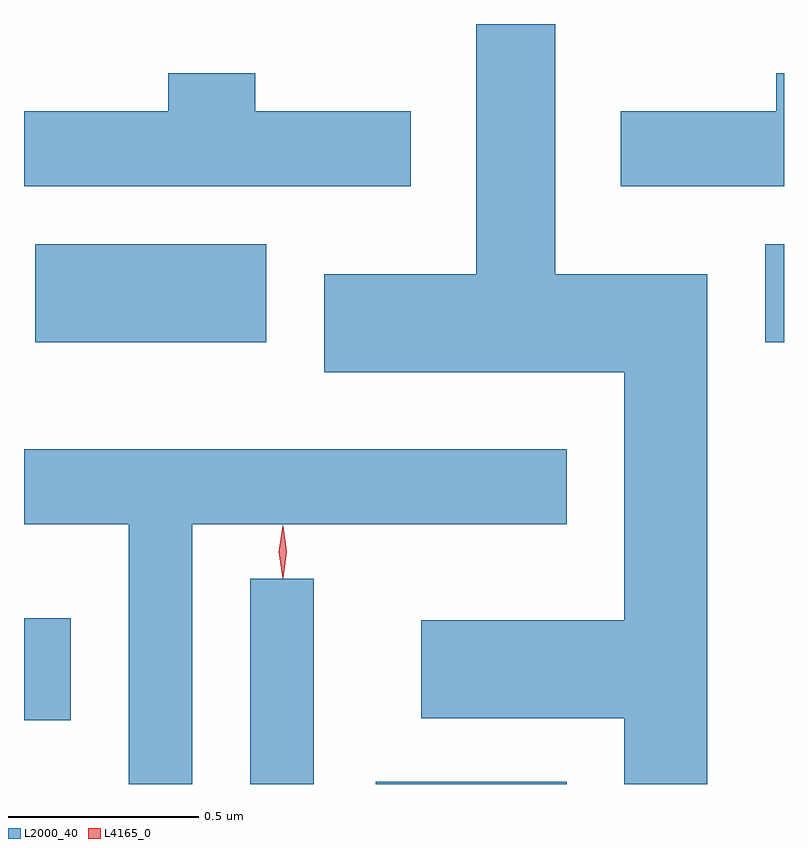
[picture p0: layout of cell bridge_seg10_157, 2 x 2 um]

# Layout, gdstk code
import gdstk
lib = gdstk.Library(unit=1e-6, precision=1e-09)
def R(c, l, rs):  # rectangles x0, y0, x1, y1
    for r in rs: c.add(gdstk.rectangle(r[:2], r[2:], *l))
def P(c, l, *ps):  # polygons
    for p in ps: c.add(gdstk.Polygon(p, *l))
L2000_40 = (2000, 40)
L4165_0 = (4165, 0)

bridge_seg10_157 = lib.new_cell('bridge_seg10_157')
R(bridge_seg10_157, L2000_40, [(1657.921,2141.633,1658.089,2142.173), (1658.251,2141.633,1658.754,2141.639), (1657.326,2141.801,1657.449,2142.069), (1657.356,2142.796,1657.964,2143.054), (1659.276,2142.796,1659.326,2143.054)])
P(bridge_seg10_157, L2000_40, [(1659.124,2142.974),(1658.724,2142.974),(1658.724,2143.633),(1658.516,2143.633),(1658.516,2142.974),(1658.116,2142.974),(1658.116,2142.716),(1658.906,2142.716),(1658.906,2142.064),(1658.371,2142.064),(1658.371,2141.806),(1658.906,2141.806),(1658.906,2141.633),(1659.124,2141.633)],
  [(1658.344,2143.404),(1657.934,2143.404),(1657.934,2143.504),(1657.706,2143.504),(1657.706,2143.404),(1657.326,2143.404),(1657.326,2143.206),(1658.344,2143.206)],
  [(1659.326,2143.504),(1659.306,2143.504),(1659.306,2143.404),(1658.896,2143.404),(1658.896,2143.206),(1659.326,2143.206)],
  [(1657.769,2142.316),(1658.754,2142.316),(1658.754,2142.514),(1657.326,2142.514),(1657.326,2142.316),(1657.601,2142.316),(1657.601,2141.633),(1657.769,2141.633)])
P(bridge_seg10_157, L4165_0, [(1658.007,2142.178),(1658.007,2142.178),(1657.997,2142.244),(1658.007,2142.311),(1658.007,2142.311),(1658.008,2142.311),(1658.017,2142.244),(1658.008,2142.178)],
  [(1658.007,2142.174),(1658.007,2142.175),(1657.997,2142.244),(1658.007,2142.313),(1658.007,2142.314),(1658.008,2142.313),(1658.017,2142.244),(1658.008,2142.175)])

lib.write_gds('bridge_seg10_157.gds')
